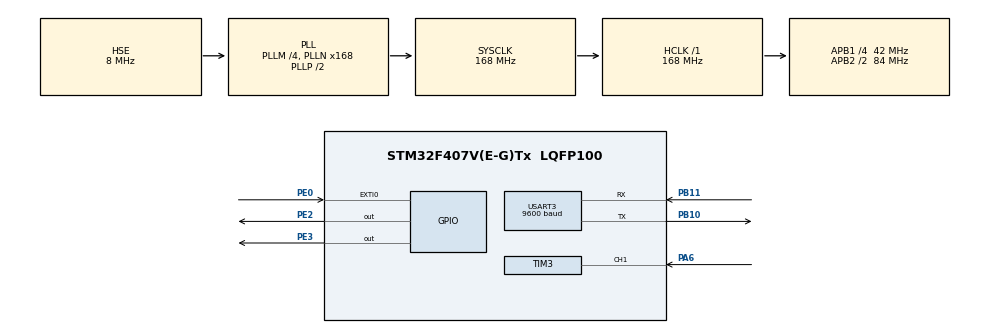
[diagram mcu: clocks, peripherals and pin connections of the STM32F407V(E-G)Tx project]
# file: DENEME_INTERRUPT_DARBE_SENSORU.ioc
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Mcu.Family=STM32F4
Mcu.Name=STM32F407V(E-G)Tx
Mcu.Package=LQFP100
NVIC.EXTI0_IRQn=true\:0\:0\:false\:false\:true\:true\:true
NVIC.PriorityGroup=NVIC_PRIORITYGROUP_4
PA6.Signal=S_TIM3_CH1
PB10.Mode=Asynchronous
PB10.Signal=USART3_TX
PB11.Mode=Asynchronous
PB11.Signal=USART3_RX
PE0.Signal=GPXTI0
PE2.Signal=GPIO_Output
PE3.Signal=GPIO_Output
PH0-OSC_IN.Mode=HSE-External-Oscillator
PH0-OSC_IN.Signal=RCC_OSC_IN
PH1-OSC_OUT.Mode=HSE-External-Oscillator
PH1-OSC_OUT.Signal=RCC_OSC_OUT
ProjectManager.HeapSize=0x200
ProjectManager.StackSize=0x400
ProjectManager.TargetToolchain=STM32CubeIDE
RCC.48MHZClocksFreq_Value=84000000
RCC.AHBFreq_Value=168000000
RCC.APB1CLKDivider=RCC_HCLK_DIV4
RCC.APB1Freq_Value=42000000
RCC.APB1TimFreq_Value=84000000
RCC.APB2CLKDivider=RCC_HCLK_DIV2
RCC.APB2Freq_Value=84000000
RCC.APB2TimFreq_Value=168000000
RCC.CortexFreq_Value=168000000
RCC.HCLKFreq_Value=168000000
RCC.HSE_VALUE=8000000
RCC.HSI_VALUE=16000000
RCC.LSE_VALUE=32768
RCC.PLLM=4
RCC.PLLN=168
RCC.PLLSourceVirtual=RCC_PLLSOURCE_HSE
RCC.SYSCLKFreq_VALUE=168000000
RCC.SYSCLKSource=RCC_SYSCLKSOURCE_PLLCLK
RCC.VCOOutputFreq_Value=336000000
SH.S_TIM3_CH1.0=TIM3_CH1,TriggerSource_TI1FP1
TIM3.Period=255
TIM3.Slave_TriggerFilter=15
USART3.BaudRate=9600
USART3.VirtualMode=VM_ASYNC
VP_TIM3_VS_ControllerModeClock.Mode=Clock Mode
board=custom

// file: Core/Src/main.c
/* USER CODE BEGIN Header */
/**
  ******************************************************************************
  * @file           : main.c
  * @brief          : Main program body
  ******************************************************************************
  * @attention
  *
  * <h2><center>&copy; Copyright (c) 2021 STMicroelectronics.
  * All rights reserved.</center></h2>
  *
  * This software component is licensed by ST under BSD 3-Clause license,
  * the "License"; You may not use this file except in compliance with the
  * License. You may obtain a copy of the License at:
  *                        opensource.org/licenses/BSD-3-Clause
  *
  ******************************************************************************
  */
/* USER CODE END Header */
#include "main.h"

/* USER CODE BEGIN Includes */
#include "stdbool.h"
#include "stdio.h"
/* USER CODE END Includes */

TIM_HandleTypeDef htim3;

UART_HandleTypeDef huart3;

/* USER CODE BEGIN PV */
char data[49] = "Merhaba \n\n";
uint8_t counter ;
bool ledState = true ;
/* USER CODE END PV */

void SystemClock_Config(void);
static void MX_GPIO_Init(void);
static void MX_USART3_UART_Init(void);
static void MX_TIM3_Init(void);
/* USER CODE BEGIN PFP */
__weak void HAL_GPIO_EXTI_Callback(uint16_t GPIO_Pin)
{
	if (__HAL_GPIO_EXTI_GET_IT(GPIO_PIN_0) != RESET){
		__HAL_TIM_SET_COMPARE(&htim3,TIM_CHANNEL_1,0);
		HAL_GPIO_WritePin(GPIOE, GPIO_PIN_2|GPIO_PIN_3, GPIO_PIN_RESET);
		HAL_UART_Transmit(&huart3, (uint8_t*)data, sprintf(data,"Sistem Interrupta girdi . Butun ledler sondu \n\n"), 100 );
		for (uint32_t i = 0 ;i<63000000;i++); // Ledler sonuk halde bir sure beklettik

	}

}
/* USER CODE END PFP */

/* USER CODE BEGIN 0 */
void read_button()
{
	counter = __HAL_TIM_GET_COUNTER(&htim3);
	if (counter % 2 == 1)
	{
		HAL_GPIO_WritePin(GPIOE, GPIO_PIN_3, GPIO_PIN_RESET);
		HAL_GPIO_WritePin(GPIOE, GPIO_PIN_2, GPIO_PIN_SET);
		if (ledState)
		{
			ledState = false ;
			HAL_UART_Transmit(&huart3, (uint8_t *)data, sprintf(data, "Kirmizi led yandi, yesil led sondu\n\n"), 100);
		}
	}
	else
	{
		HAL_GPIO_WritePin(GPIOE, GPIO_PIN_2, GPIO_PIN_RESET);
		HAL_GPIO_WritePin(GPIOE, GPIO_PIN_3, GPIO_PIN_SET);
		if (!ledState)
		{
			ledState = true ;
			HAL_UART_Transmit(&huart3, (uint8_t *)data, sprintf(data, "Yesil led yandi, kirmizi led sondu\n\n"), 100);
		}
	}
}
/* USER CODE END 0 */

int main(void)
{

  /* MCU Configuration--------------------------------------------------------*/

  /* Reset of all peripherals, Initializes the Flash interface and the Systick. */
  HAL_Init();

  /* Configure the system clock */
  SystemClock_Config();

  /* Initialize all configured peripherals */
  MX_GPIO_Init();
  MX_USART3_UART_Init();
  MX_TIM3_Init();
  /* USER CODE BEGIN 2 */
  HAL_UART_Transmit(&huart3, (uint8_t *)data, 40 , 100);
  HAL_TIM_Base_Start(&htim3);
  /* USER CODE END 2 */

  /* Infinite loop */
  while (1)
  {

    /* USER CODE BEGIN 3 */

	  // Link of project video ------> https://drive.google.com/file/d/18IGMAwq2a1ip8ynZkklIEMcTwSK-FSwu/view?usp=sharing

	  read_button();
  }
  /* USER CODE END 3 */
}

void SystemClock_Config(void)
{
  RCC_OscInitTypeDef RCC_OscInitStruct = {0};
  RCC_ClkInitTypeDef RCC_ClkInitStruct = {0};

  /** Configure the main internal regulator output voltage
  */
  __HAL_RCC_PWR_CLK_ENABLE();
  __HAL_PWR_VOLTAGESCALING_CONFIG(PWR_REGULATOR_VOLTAGE_SCALE1);
  /** Initializes the RCC Oscillators according to the specified parameters
  * in the RCC_OscInitTypeDef structure.
  */
  RCC_OscInitStruct.OscillatorType = RCC_OSCILLATORTYPE_HSE;
  RCC_OscInitStruct.HSEState = RCC_HSE_ON;
  RCC_OscInitStruct.PLL.PLLState = RCC_PLL_ON;
  RCC_OscInitStruct.PLL.PLLSource = RCC_PLLSOURCE_HSE;
  RCC_OscInitStruct.PLL.PLLM = 4;
  RCC_OscInitStruct.PLL.PLLN = 168;
  RCC_OscInitStruct.PLL.PLLP = RCC_PLLP_DIV2;
  RCC_OscInitStruct.PLL.PLLQ = 4;
  if (HAL_RCC_OscConfig(&RCC_OscInitStruct) != HAL_OK)
  {
    Error_Handler();
  }
  /** Initializes the CPU, AHB and APB buses clocks
  */
  RCC_ClkInitStruct.ClockType = RCC_CLOCKTYPE_HCLK|RCC_CLOCKTYPE_SYSCLK
                              |RCC_CLOCKTYPE_PCLK1|RCC_CLOCKTYPE_PCLK2;
  RCC_ClkInitStruct.SYSCLKSource = RCC_SYSCLKSOURCE_PLLCLK;
  RCC_ClkInitStruct.AHBCLKDivider = RCC_SYSCLK_DIV1;
  RCC_ClkInitStruct.APB1CLKDivider = RCC_HCLK_DIV4;
  RCC_ClkInitStruct.APB2CLKDivider = RCC_HCLK_DIV2;

  if (HAL_RCC_ClockConfig(&RCC_ClkInitStruct, FLASH_LATENCY_5) != HAL_OK)
  {
    Error_Handler();
  }
}

static void MX_TIM3_Init(void)
{

  TIM_SlaveConfigTypeDef sSlaveConfig = {0};
  TIM_MasterConfigTypeDef sMasterConfig = {0};

  htim3.Instance = TIM3;
  htim3.Init.Prescaler = 0;
  htim3.Init.CounterMode = TIM_COUNTERMODE_UP;
  htim3.Init.Period = 255;
  htim3.Init.ClockDivision = TIM_CLOCKDIVISION_DIV1;
  htim3.Init.AutoReloadPreload = TIM_AUTORELOAD_PRELOAD_DISABLE;
  if (HAL_TIM_Base_Init(&htim3) != HAL_OK)
  {
    Error_Handler();
  }
  sSlaveConfig.SlaveMode = TIM_SLAVEMODE_EXTERNAL1;
  sSlaveConfig.InputTrigger = TIM_TS_TI1FP1;
  sSlaveConfig.TriggerPolarity = TIM_TRIGGERPOLARITY_RISING;
  sSlaveConfig.TriggerFilter = 15;
  if (HAL_TIM_SlaveConfigSynchro(&htim3, &sSlaveConfig) != HAL_OK)
  {
    Error_Handler();
  }
  sMasterConfig.MasterOutputTrigger = TIM_TRGO_RESET;
  sMasterConfig.MasterSlaveMode = TIM_MASTERSLAVEMODE_DISABLE;
  if (HAL_TIMEx_MasterConfigSynchronization(&htim3, &sMasterConfig) != HAL_OK)
  {
    Error_Handler();
  }

}

static void MX_USART3_UART_Init(void)
{

  huart3.Instance = USART3;
  huart3.Init.BaudRate = 9600;
  huart3.Init.WordLength = UART_WORDLENGTH_8B;
  huart3.Init.StopBits = UART_STOPBITS_1;
  huart3.Init.Parity = UART_PARITY_NONE;
  huart3.Init.Mode = UART_MODE_TX_RX;
  huart3.Init.HwFlowCtl = UART_HWCONTROL_NONE;
  huart3.Init.OverSampling = UART_OVERSAMPLING_16;
  if (HAL_UART_Init(&huart3) != HAL_OK)
  {
    Error_Handler();
  }

}

static void MX_GPIO_Init(void)
{
  GPIO_InitTypeDef GPIO_InitStruct = {0};

  /* GPIO Ports Clock Enable */
  __HAL_RCC_GPIOE_CLK_ENABLE();
  __HAL_RCC_GPIOH_CLK_ENABLE();
  __HAL_RCC_GPIOA_CLK_ENABLE();
  __HAL_RCC_GPIOB_CLK_ENABLE();

  /*Configure GPIO pin Output Level */
  HAL_GPIO_WritePin(GPIOE, GPIO_PIN_2|GPIO_PIN_3, GPIO_PIN_RESET);

  /*Configure GPIO pins : PE2 PE3 */
  GPIO_InitStruct.Pin = GPIO_PIN_2|GPIO_PIN_3;
  GPIO_InitStruct.Mode = GPIO_MODE_OUTPUT_PP;
  GPIO_InitStruct.Pull = GPIO_NOPULL;
  GPIO_InitStruct.Speed = GPIO_SPEED_FREQ_LOW;
  HAL_GPIO_Init(GPIOE, &GPIO_InitStruct);

  /*Configure GPIO pin : PE0 */
  GPIO_InitStruct.Pin = GPIO_PIN_0;
  GPIO_InitStruct.Mode = GPIO_MODE_IT_RISING;
  GPIO_InitStruct.Pull = GPIO_NOPULL;
  HAL_GPIO_Init(GPIOE, &GPIO_InitStruct);

  /* EXTI interrupt init*/
  HAL_NVIC_SetPriority(EXTI0_IRQn, 0, 0);
  HAL_NVIC_EnableIRQ(EXTI0_IRQn);

}

void Error_Handler(void)
{
  __disable_irq();
  while (1)
  {
  }
}

/************************ (C) COPYRIGHT STMicroelectronics *****END OF FILE****/
